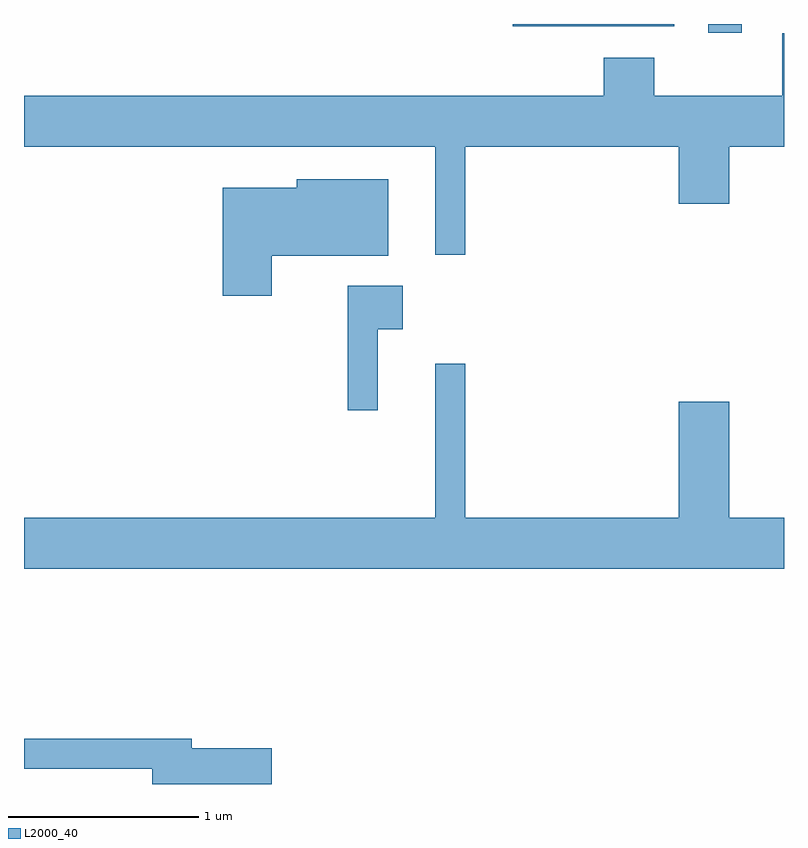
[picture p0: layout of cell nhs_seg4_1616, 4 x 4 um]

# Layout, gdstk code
import gdstk
lib = gdstk.Library(unit=1e-6, precision=1e-09)
def R(c, l, rs):  # rectangles x0, y0, x1, y1
    for r in rs: c.add(gdstk.rectangle(r[:2], r[2:], *l))
def P(c, l, *ps):  # polygons
    for p in ps: c.add(gdstk.Polygon(p, *l))
L2000_40 = (2000, 40)

nhs_seg4_1616 = lib.new_cell('nhs_seg4_1616')
R(nhs_seg4_1616, L2000_40, [(235.211,1361.936,235.389,1361.982), (234.183,1361.971,235.034,1361.982)])
P(nhs_seg4_1616, L2000_40, [(233.934,1361.336),(235.056,1361.336),(235.056,1361.036),(235.324,1361.036),(235.324,1361.336),(235.611,1361.336),(235.611,1361.934),(235.601,1361.934),(235.601,1361.604),(234.929,1361.604),(234.929,1361.804),(234.661,1361.804),(234.661,1361.604),(231.611,1361.604),(231.611,1361.336),(233.776,1361.336),(233.776,1360.768),(233.934,1360.768)],
  [(232.914,1360.761),(233.529,1360.761),(233.529,1361.164),(233.046,1361.164),(233.046,1361.119),(232.656,1361.119),(232.656,1360.551),(232.914,1360.551)],
  [(233.474,1360.376),(233.604,1360.376),(233.604,1360.604),(233.316,1360.604),(233.316,1359.948),(233.474,1359.948)],
  [(235.611,1359.384),(235.324,1359.384),(235.324,1359.994),(235.056,1359.994),(235.056,1359.384),(233.934,1359.384),(233.934,1360.193),(233.776,1360.193),(233.776,1359.384),(231.611,1359.384),(231.611,1359.116),(235.611,1359.116)],
  [(232.914,1358.169),(232.494,1358.169),(232.494,1358.219),(231.611,1358.219),(231.611,1358.061),(232.286,1358.061),(232.286,1357.982),(232.914,1357.982)])

lib.write_gds('nhs_seg4_1616.gds')
